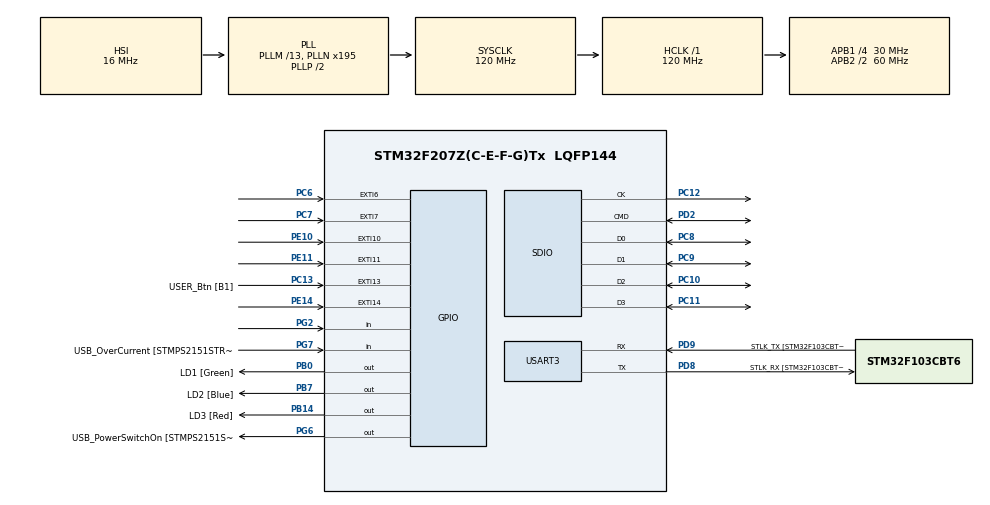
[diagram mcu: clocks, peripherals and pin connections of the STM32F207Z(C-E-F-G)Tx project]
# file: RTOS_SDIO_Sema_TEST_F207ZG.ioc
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Dma.Request0=SDIO_TX
Dma.Request1=SDIO_RX
Dma.SDIO_RX.1.Direction=DMA_PERIPH_TO_MEMORY
Dma.SDIO_RX.1.FIFOMode=DMA_FIFOMODE_ENABLE
Dma.SDIO_RX.1.FIFOThreshold=DMA_FIFO_THRESHOLD_FULL
Dma.SDIO_RX.1.Instance=DMA2_Stream3
Dma.SDIO_RX.1.MemBurst=DMA_MBURST_INC4
Dma.SDIO_RX.1.MemDataAlignment=DMA_MDATAALIGN_WORD
Dma.SDIO_RX.1.MemInc=DMA_MINC_ENABLE
Dma.SDIO_RX.1.Mode=DMA_PFCTRL
Dma.SDIO_RX.1.PeriphBurst=DMA_PBURST_INC4
Dma.SDIO_RX.1.PeriphDataAlignment=DMA_PDATAALIGN_WORD
Dma.SDIO_RX.1.PeriphInc=DMA_PINC_DISABLE
Dma.SDIO_RX.1.Priority=DMA_PRIORITY_LOW
Dma.SDIO_TX.0.Direction=DMA_MEMORY_TO_PERIPH
Dma.SDIO_TX.0.FIFOMode=DMA_FIFOMODE_ENABLE
Dma.SDIO_TX.0.FIFOThreshold=DMA_FIFO_THRESHOLD_FULL
Dma.SDIO_TX.0.Instance=DMA2_Stream6
Dma.SDIO_TX.0.MemBurst=DMA_MBURST_INC4
Dma.SDIO_TX.0.MemDataAlignment=DMA_MDATAALIGN_WORD
Dma.SDIO_TX.0.MemInc=DMA_MINC_ENABLE
Dma.SDIO_TX.0.Mode=DMA_PFCTRL
Dma.SDIO_TX.0.PeriphBurst=DMA_PBURST_INC4
Dma.SDIO_TX.0.PeriphDataAlignment=DMA_PDATAALIGN_WORD
Dma.SDIO_TX.0.PeriphInc=DMA_PINC_DISABLE
Dma.SDIO_TX.0.Priority=DMA_PRIORITY_LOW
FATFS.BSP.number=1
FATFS._CODE_PAGE=949
FATFS._USE_LFN=3
FATFS._WORD_ACCESS=1
FATFS0.BSP.STBoard=false
FATFS0.BSP.api=Unknown
FATFS0.BSP.i2caddr=0
FATFS0.BSP.instance=PG2
FATFS0.BSP.ip=GPIO
FATFS0.BSP.mode=Input
FATFS0.BSP.name=Detect_SDIO
FATFS0.BSP.solution=PG2
FREERTOS.BinarySemaphores01=sdReadBinarySem,Dynamic,NULL;sdWriteBinarySem,Dynamic,NULL;sdFormatBinarySem,Dynamic,NULL
FREERTOS.MEMORY_ALLOCATION=0
FREERTOS.Tasks01=defaultTask,0,1024,StartDefaultTask,Default,NULL,Dynamic,NULL,NULL;sdReadTask,-3,256,StartSdReadTask,Default,NULL,Dynamic,NULL,NULL;sdWriteTask,-3,256,StartSdWriteTask,Default,NULL,Dynamic,NULL,NULL;sdFormatTask,-3,256,StartSdFormatTask,Default,NULL,Dynamic,NULL,NULL
FREERTOS.configCHECK_FOR_STACK_OVERFLOW=2
FREERTOS.configUSE_APPLICATION_TASK_TAG=1
FREERTOS.configUSE_COUNTING_SEMAPHORES=1
FREERTOS.configUSE_IDLE_HOOK=1
FREERTOS.configUSE_MALLOC_FAILED_HOOK=1
FREERTOS.configUSE_RECURSIVE_MUTEXES=1
Mcu.Family=STM32F2
Mcu.Name=STM32F207Z(C-E-F-G)Tx
Mcu.Package=LQFP144
NVIC.DMA2_Stream3_IRQn=true\:6\:0\:true\:false\:true\:true\:false\:true
NVIC.DMA2_Stream6_IRQn=true\:6\:0\:true\:false\:true\:true\:false\:true
NVIC.EXTI15_10_IRQn=true\:5\:0\:false\:false\:true\:true\:true\:true
NVIC.EXTI9_5_IRQn=true\:5\:0\:false\:false\:true\:true\:true\:true
NVIC.PriorityGroup=NVIC_PRIORITYGROUP_4
NVIC.SDIO_IRQn=true\:5\:0\:true\:false\:true\:true\:true\:true
NVIC.TIM1_BRK_TIM9_IRQn=true\:0\:0\:false\:false\:true\:false\:false\:true
NVIC.TimeBase=TIM1_BRK_TIM9_IRQn
NVIC.TimeBaseIP=TIM9
PA1.GPIO_Label=RMII_REF_CLK [LAN8742A-CZ-TR_REFCLK0]
PA1.Signal=ETH_REF_CLK
PA10.GPIO_Label=USB_ID
PA10.Signal=USB_OTG_FS_ID
PA11.GPIO_Label=USB_DM
PA11.Signal=USB_OTG_FS_DM
PA12.GPIO_Label=USB_DP
PA12.Signal=USB_OTG_FS_DP
PA13.GPIO_Label=TMS
PA13.Mode=Trace_Asynchronous_SW
PA13.Signal=SYS_JTMS-SWDIO
PA14.GPIO_Label=TCK
PA14.Mode=Trace_Asynchronous_SW
PA14.Signal=SYS_JTCK-SWCLK
PA2.GPIO_Label=RMII_MDIO [LAN8742A-CZ-TR_MDIO]
PA2.Signal=ETH_MDIO
PA8.GPIO_Label=USB_SOF [TP1]
PA8.Signal=USB_OTG_FS_SOF
PA9.GPIO_Label=USB_VBUS
PA9.Signal=USB_OTG_FS_VBUS
PB0.GPIO_Label=LD1 [Green]
PB0.Signal=GPIO_Output
PB13.GPIO_Label=RMII_TXD1 [LAN8742A-CZ-TR_TXD1]
PB13.Signal=ETH_TXD1
PB14.GPIO_Label=LD3 [Red]
PB14.Signal=GPIO_Output
PB3.GPIO_Label=SWO
PB3.Mode=Trace_Asynchronous_SW
PB3.Signal=SYS_JTDO-SWO
PB7.GPIO_Label=LD2 [Blue]
PB7.Signal=GPIO_Output
PC1.GPIO_Label=RMII_MDC [LAN8742A-CZ-TR_MDC]
PC1.Signal=ETH_MDC
PC10.Mode=SD_4_bits_Wide_bus
PC10.Signal=SDIO_D2
PC11.Mode=SD_4_bits_Wide_bus
PC11.Signal=SDIO_D3
PC12.Mode=SD_4_bits_Wide_bus
PC12.Signal=SDIO_CK
PC13.GPIO_Label=USER_Btn [B1]
PC13.Signal=GPXTI13
PC14-OSC32_IN.Mode=LSE-External-Oscillator
PC14-OSC32_IN.Signal=RCC_OSC32_IN
PC15-OSC32_OUT.Mode=LSE-External-Oscillator
PC15-OSC32_OUT.Signal=RCC_OSC32_OUT
PC4.GPIO_Label=RMII_RXD0 [LAN8742A-CZ-TR_RXD0]
PC4.Signal=ETH_RXD0
PC5.GPIO_Label=RMII_RXD1 [LAN8742A-CZ-TR_RXD1]
PC5.Signal=ETH_RXD1
PC6.Signal=GPXTI6
PC7.Signal=GPXTI7
PC8.Mode=SD_4_bits_Wide_bus
PC8.Signal=SDIO_D0
PC9.Mode=SD_4_bits_Wide_bus
PC9.Signal=SDIO_D1
PD2.Mode=SD_4_bits_Wide_bus
PD2.Signal=SDIO_CMD
PD8.GPIO_Label=STLK_RX [STM32F103CBT6_PA3]
PD8.Mode=Asynchronous
PD8.Signal=USART3_TX
PD9.GPIO_Label=STLK_TX [STM32F103CBT6_PA2]
PD9.Mode=Asynchronous
PD9.Signal=USART3_RX
PE10.Signal=GPXTI10
PE11.Signal=GPXTI11
PE14.Signal=GPXTI14
PG11.GPIO_Label=RMII_TX_EN [LAN8742A-CZ-TR_TXEN]
PG11.Signal=ETH_TX_EN
PG13.GPIO_Label=RMII_TXD0 [LAN8742A-CZ-TR_TXD0]
PG13.Signal=ETH_TXD0
PG2.GPIO_PuPd=GPIO_PULLUP
PG2.Signal=GPIO_Input
PG6.GPIO_Label=USB_PowerSwitchOn [STMPS2151STR_EN]
PG6.Signal=GPIO_Output
PG7.GPIO_Label=USB_OverCurrent [STMPS2151STR_FAULT]
PG7.Signal=GPIO_Input
PH0-OSC_IN.GPIO_Label=MCO [STM32F103CBT6_PA8]
PH0-OSC_IN.Mode=HSE-External-Clock-Source
PH0-OSC_IN.Signal=RCC_OSC_IN
PH1-OSC_OUT.Mode=HSE-External-Clock-Source
PH1-OSC_OUT.Signal=RCC_OSC_OUT
ProjectManager.HeapSize=0x1000
ProjectManager.StackSize=0x1000
ProjectManager.TargetToolchain=STM32CubeIDE
RCC.48MHZClocksFreq_Value=48000000
RCC.AHBFreq_Value=120000000
RCC.APB1CLKDivider=RCC_HCLK_DIV4
RCC.APB1Freq_Value=30000000
RCC.APB1TimFreq_Value=60000000
RCC.APB2CLKDivider=RCC_HCLK_DIV2
RCC.APB2Freq_Value=60000000
RCC.APB2TimFreq_Value=120000000
RCC.CortexFreq_Value=120000000
RCC.HCLKFreq_Value=120000000
RCC.HSE_VALUE=8000000
RCC.HSI_VALUE=16000000
RCC.PLLM=13
RCC.PLLMUL=RCC_PLL_MUL9
RCC.PLLN=195
RCC.PLLQ=5
RCC.PRESCALERUSB=RCC_USBCLKSOURCE_PLL_DIV1_5
RCC.SYSCLKFreq_VALUE=120000000
RCC.SYSCLKSource=RCC_SYSCLKSOURCE_PLLCLK
RCC.SYSCLKSourceVirtual=RCC_SYSCLKSOURCE_PLLCLK
RCC.USBFreq_Value=48000000
RCC.VCOOutputFreq_Value=240000000
SDIO.ClockBypass=SDIO_CLOCK_BYPASS_DISABLE
SDIO.ClockDiv=3
SDIO.HardwareFlowControl=SDIO_HARDWARE_FLOW_CONTROL_DISABLE
USART3.VirtualMode=VM_ASYNC
VP_FATFS_VS_SDIO.Mode=SDIO
VP_FREERTOS_VS_CMSIS_V1.Mode=CMSIS_V1
VP_SYS_VS_tim9.Mode=TIM9
board=custom

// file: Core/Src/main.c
/* USER CODE BEGIN Header */
/**
 ******************************************************************************
 * @file           : main.c
 * @brief          : Main program body
 ******************************************************************************
 * @attention
 *
 * <h2><center>&copy; Copyright (c) 2020 STMicroelectronics.
 * All rights reserved.</center></h2>
 *
 * This software component is licensed by ST under BSD 3-Clause license,
 * the "License"; You may not use this file except in compliance with the
 * License. You may obtain a copy of the License at:
 *                        opensource.org/licenses/BSD-3-Clause
 *
 ******************************************************************************
 */
/* USER CODE END Header */
#include "main.h"
#include "cmsis_os.h"
#include "fatfs.h"

/* USER CODE BEGIN Includes */
#include <string.h>
/* USER CODE END Includes */

/* USER CODE BEGIN PTD */
typedef enum
{
	SHIELD_NOT_DETECTED = 0, SHIELD_DETECTED
} ShieldStatus;
/* USER CODE END PTD */

/* USER CODE BEGIN PD */
#define B1SWITCH_SLICE_PUSH_TIME	2000
#define CHATTERING_REMOVE_TIME	10
/* USER CODE END PD */

SD_HandleTypeDef hsd;
DMA_HandleTypeDef hdma_sdio_tx;
DMA_HandleTypeDef hdma_sdio_rx;

UART_HandleTypeDef huart3;

osThreadId defaultTaskHandle;
osThreadId sdReadTaskHandle;
osThreadId sdWriteTaskHandle;
osThreadId sdFormatTaskHandle;
osSemaphoreId sdReadBinarySemHandle;
osSemaphoreId sdWriteBinarySemHandle;
osSemaphoreId sdFormatBinarySemHandle;
/* USER CODE BEGIN PV */
FATFS SDFatFs; /* File system object for SD card logical drive */
FIL MyFile; /* File object */
char SDPath[4]; /* SD card logical drive path */
uint8_t workBuffer[2 * _MAX_SS];
//uint8_t buffSel;
uint16_t dataIdx;
uint16_t writeSize;
uint16_t writedataIdx;
uint8_t recvData;
uint16_t b1PushCounter;
char fileName[11];

uint32_t tickRec[10];
/* USER CODE END PV */

void SystemClock_Config(void);
static void MX_GPIO_Init(void);
static void MX_DMA_Init(void);
static void MX_USART3_UART_Init(void);
static void MX_SDIO_SD_Init(void);
void StartDefaultTask(void const *argument);
void StartSdReadTask(void const *argument);
void StartSdWriteTask(void const *argument);
void StartSdFormatTask(void const *argument);

/* USER CODE BEGIN 0 */

void HAL_GPIO_EXTI_Callback(uint16_t GPIO_Pin)
{
	/*
	 switch (GPIO_Pin)
	 {
	 case GPIO_PIN_6:
	 ITM_SendChar('6');
	 ITM_SendChar('\r');
	 ITM_SendChar('\n');
	 break;
	 case GPIO_PIN_7:
	 ITM_SendChar('7');
	 ITM_SendChar('\r');
	 ITM_SendChar('\n');
	 break;
	 case GPIO_PIN_10:
	 HAL_GPIO_TogglePin(GPIOB, GPIO_PIN_7);
	 break;
	 case GPIO_PIN_11:
	 HAL_GPIO_TogglePin(GPIOB, GPIO_PIN_0);
	 break;
	 case GPIO_PIN_14:
	 HAL_GPIO_TogglePin(GPIOB, GPIO_PIN_14);
	 break;
	 }*/
	if (GPIO_Pin == GPIO_PIN_13)
	{
		b1PushCounter = B1SWITCH_SLICE_PUSH_TIME;
		HAL_GPIO_WritePin(GPIOG, GPIO_PIN_6, GPIO_PIN_RESET);
	}
}

void ITM_SendStr(char *str)
{
	while (*str)
	{
		ITM_SendChar(*str);
		str++;
	}
}

/* USER CODE END 0 */

int main(void)
{

	/* MCU Configuration--------------------------------------------------------*/

	/* Reset of all peripherals, Initializes the Flash interface and the Systick. */
	HAL_Init();

	/* Configure the system clock */
	SystemClock_Config();

	/* Initialize all configured peripherals */
	MX_GPIO_Init();
	MX_DMA_Init();
	MX_USART3_UART_Init();
	MX_SDIO_SD_Init();
	MX_FATFS_Init();
	/* USER CODE BEGIN 2 */
	b1PushCounter = 0;
	//  buffSel = 0;
	dataIdx = 0;
	/* USER CODE END 2 */

	/* Create the semaphores(s) */
	/* definition and creation of sdReadBinarySem */
	osSemaphoreDef(sdReadBinarySem);
	sdReadBinarySemHandle = osSemaphoreCreate(osSemaphore(sdReadBinarySem), 1);

	/* definition and creation of sdWriteBinarySem */
	osSemaphoreDef(sdWriteBinarySem);
	sdWriteBinarySemHandle = osSemaphoreCreate(osSemaphore(sdWriteBinarySem),
			1);

	/* definition and creation of sdFormatBinarySem */
	osSemaphoreDef(sdFormatBinarySem);
	sdFormatBinarySemHandle = osSemaphoreCreate(osSemaphore(sdFormatBinarySem),
			1);

	/* Create the thread(s) */
	/* definition and creation of defaultTask */
	osThreadDef(defaultTask, StartDefaultTask, osPriorityNormal, 0, 1024);
	defaultTaskHandle = osThreadCreate(osThread(defaultTask), NULL);

	/* definition and creation of sdReadTask */
	osThreadDef(sdReadTask, StartSdReadTask, osPriorityIdle, 0, 256);
	sdReadTaskHandle = osThreadCreate(osThread(sdReadTask), NULL);

	/* definition and creation of sdWriteTask */
	osThreadDef(sdWriteTask, StartSdWriteTask, osPriorityIdle, 0, 256);
	sdWriteTaskHandle = osThreadCreate(osThread(sdWriteTask), NULL);

	/* definition and creation of sdFormatTask */
	/*
	 osThreadDef(sdFormatTask, StartSdFormatTask, osPriorityIdle, 0, 256);
	 sdFormatTaskHandle = osThreadCreate(osThread(sdFormatTask), NULL);
	 */

	/* Start scheduler */
	osKernelStart();

	/* We should never get here as control is now taken by the scheduler */
	/* Infinite loop */
	while (1)
	{

	}
}

void SystemClock_Config(void)
{
	RCC_OscInitTypeDef RCC_OscInitStruct =
	{ 0 };
	RCC_ClkInitTypeDef RCC_ClkInitStruct =
	{ 0 };

	/** Initializes the RCC Oscillators according to the specified parameters
	 * in the RCC_OscInitTypeDef structure.
	 */
	RCC_OscInitStruct.OscillatorType = RCC_OSCILLATORTYPE_HSI;
	RCC_OscInitStruct.HSIState = RCC_HSI_ON;
	RCC_OscInitStruct.HSICalibrationValue = RCC_HSICALIBRATION_DEFAULT;
	RCC_OscInitStruct.PLL.PLLState = RCC_PLL_ON;
	RCC_OscInitStruct.PLL.PLLSource = RCC_PLLSOURCE_HSI;
	RCC_OscInitStruct.PLL.PLLM = 13;
	RCC_OscInitStruct.PLL.PLLN = 195;
	RCC_OscInitStruct.PLL.PLLP = RCC_PLLP_DIV2;
	RCC_OscInitStruct.PLL.PLLQ = 5;
	if (HAL_RCC_OscConfig(&RCC_OscInitStruct) != HAL_OK)
	{
		Error_Handler();
	}
	/** Initializes the CPU, AHB and APB buses clocks
	 */
	RCC_ClkInitStruct.ClockType = RCC_CLOCKTYPE_HCLK | RCC_CLOCKTYPE_SYSCLK
			| RCC_CLOCKTYPE_PCLK1 | RCC_CLOCKTYPE_PCLK2;
	RCC_ClkInitStruct.SYSCLKSource = RCC_SYSCLKSOURCE_PLLCLK;
	RCC_ClkInitStruct.AHBCLKDivider = RCC_SYSCLK_DIV1;
	RCC_ClkInitStruct.APB1CLKDivider = RCC_HCLK_DIV4;
	RCC_ClkInitStruct.APB2CLKDivider = RCC_HCLK_DIV2;

	if (HAL_RCC_ClockConfig(&RCC_ClkInitStruct, FLASH_LATENCY_3) != HAL_OK)
	{
		Error_Handler();
	}
}

static void MX_SDIO_SD_Init(void)
{

	hsd.Instance = SDIO;
	hsd.Init.ClockEdge = SDIO_CLOCK_EDGE_RISING;
	hsd.Init.ClockBypass = SDIO_CLOCK_BYPASS_DISABLE;
	hsd.Init.ClockPowerSave = SDIO_CLOCK_POWER_SAVE_DISABLE;
	hsd.Init.BusWide = SDIO_BUS_WIDE_1B;
	hsd.Init.HardwareFlowControl = SDIO_HARDWARE_FLOW_CONTROL_DISABLE;
	hsd.Init.ClockDiv = 3;

}

static void MX_USART3_UART_Init(void)
{

	huart3.Instance = USART3;
	huart3.Init.BaudRate = 115200;
	huart3.Init.WordLength = UART_WORDLENGTH_8B;
	huart3.Init.StopBits = UART_STOPBITS_1;
	huart3.Init.Parity = UART_PARITY_NONE;
	huart3.Init.Mode = UART_MODE_TX_RX;
	huart3.Init.HwFlowCtl = UART_HWCONTROL_NONE;
	huart3.Init.OverSampling = UART_OVERSAMPLING_16;
	if (HAL_UART_Init(&huart3) != HAL_OK)
	{
		Error_Handler();
	}

}

static void MX_DMA_Init(void)
{

	/* DMA controller clock enable */
	__HAL_RCC_DMA2_CLK_ENABLE();

	/* DMA interrupt init */
	/* DMA2_Stream3_IRQn interrupt configuration */
	HAL_NVIC_SetPriority(DMA2_Stream3_IRQn, 6, 0);
	HAL_NVIC_EnableIRQ(DMA2_Stream3_IRQn);
	/* DMA2_Stream6_IRQn interrupt configuration */
	HAL_NVIC_SetPriority(DMA2_Stream6_IRQn, 6, 0);
	HAL_NVIC_EnableIRQ(DMA2_Stream6_IRQn);

}

static void MX_GPIO_Init(void)
{
	GPIO_InitTypeDef GPIO_InitStruct =
	{ 0 };

	/* GPIO Ports Clock Enable */
	__HAL_RCC_GPIOC_CLK_ENABLE();
	__HAL_RCC_GPIOH_CLK_ENABLE();
	__HAL_RCC_GPIOA_CLK_ENABLE();
	__HAL_RCC_GPIOB_CLK_ENABLE();
	__HAL_RCC_GPIOE_CLK_ENABLE();
	__HAL_RCC_GPIOD_CLK_ENABLE();
	__HAL_RCC_GPIOG_CLK_ENABLE();

	/*Configure GPIO pin Output Level */
	HAL_GPIO_WritePin(GPIOB, LD1_Pin | LD3_Pin | LD2_Pin, GPIO_PIN_RESET);

	/*Configure GPIO pin Output Level */
	HAL_GPIO_WritePin(USB_PowerSwitchOn_GPIO_Port, USB_PowerSwitchOn_Pin,
			GPIO_PIN_RESET);

	/*Configure GPIO pins : USER_Btn_Pin PC6 PC7 */
	GPIO_InitStruct.Pin = USER_Btn_Pin | GPIO_PIN_6 | GPIO_PIN_7;
	GPIO_InitStruct.Mode = GPIO_MODE_IT_RISING;
	GPIO_InitStruct.Pull = GPIO_NOPULL;
	HAL_GPIO_Init(GPIOC, &GPIO_InitStruct);

	/*Configure GPIO pins : RMII_MDC_Pin RMII_RXD0_Pin RMII_RXD1_Pin */
	GPIO_InitStruct.Pin = RMII_MDC_Pin | RMII_RXD0_Pin | RMII_RXD1_Pin;
	GPIO_InitStruct.Mode = GPIO_MODE_AF_PP;
	GPIO_InitStruct.Pull = GPIO_NOPULL;
	GPIO_InitStruct.Speed = GPIO_SPEED_FREQ_VERY_HIGH;
	GPIO_InitStruct.Alternate = GPIO_AF11_ETH;
	HAL_GPIO_Init(GPIOC, &GPIO_InitStruct);

	/*Configure GPIO pins : RMII_REF_CLK_Pin RMII_MDIO_Pin */
	GPIO_InitStruct.Pin = RMII_REF_CLK_Pin | RMII_MDIO_Pin;
	GPIO_InitStruct.Mode = GPIO_MODE_AF_PP;
	GPIO_InitStruct.Pull = GPIO_NOPULL;
	GPIO_InitStruct.Speed = GPIO_SPEED_FREQ_VERY_HIGH;
	GPIO_InitStruct.Alternate = GPIO_AF11_ETH;
	HAL_GPIO_Init(GPIOA, &GPIO_InitStruct);

	/*Configure GPIO pins : LD1_Pin LD3_Pin LD2_Pin */
	GPIO_InitStruct.Pin = LD1_Pin | LD3_Pin | LD2_Pin;
	GPIO_InitStruct.Mode = GPIO_MODE_OUTPUT_PP;
	GPIO_InitStruct.Pull = GPIO_NOPULL;
	GPIO_InitStruct.Speed = GPIO_SPEED_FREQ_LOW;
	HAL_GPIO_Init(GPIOB, &GPIO_InitStruct);

	/*Configure GPIO pins : PE10 PE11 PE14 */
	GPIO_InitStruct.Pin = GPIO_PIN_10 | GPIO_PIN_11 | GPIO_PIN_14;
	GPIO_InitStruct.Mode = GPIO_MODE_IT_RISING;
	GPIO_InitStruct.Pull = GPIO_NOPULL;
	HAL_GPIO_Init(GPIOE, &GPIO_InitStruct);

	/*Configure GPIO pin : RMII_TXD1_Pin */
	GPIO_InitStruct.Pin = RMII_TXD1_Pin;
	GPIO_InitStruct.Mode = GPIO_MODE_AF_PP;
	GPIO_InitStruct.Pull = GPIO_NOPULL;
	GPIO_InitStruct.Speed = GPIO_SPEED_FREQ_VERY_HIGH;
	GPIO_InitStruct.Alternate = GPIO_AF11_ETH;
	HAL_GPIO_Init(RMII_TXD1_GPIO_Port, &GPIO_InitStruct);

	/*Configure GPIO pin : PG2 */
	GPIO_InitStruct.Pin = GPIO_PIN_2;
	GPIO_InitStruct.Mode = GPIO_MODE_INPUT;
	GPIO_InitStruct.Pull = GPIO_PULLUP;
	HAL_GPIO_Init(GPIOG, &GPIO_InitStruct);

	/*Configure GPIO pin : USB_PowerSwitchOn_Pin */
	GPIO_InitStruct.Pin = USB_PowerSwitchOn_Pin;
	GPIO_InitStruct.Mode = GPIO_MODE_OUTPUT_PP;
	GPIO_InitStruct.Pull = GPIO_NOPULL;
	GPIO_InitStruct.Speed = GPIO_SPEED_FREQ_LOW;
	HAL_GPIO_Init(USB_PowerSwitchOn_GPIO_Port, &GPIO_InitStruct);

	/*Configure GPIO pin : USB_OverCurrent_Pin */
	GPIO_InitStruct.Pin = USB_OverCurrent_Pin;
	GPIO_InitStruct.Mode = GPIO_MODE_INPUT;
	GPIO_InitStruct.Pull = GPIO_NOPULL;
	HAL_GPIO_Init(USB_OverCurrent_GPIO_Port, &GPIO_InitStruct);

	/*Configure GPIO pins : USB_SOF_Pin USB_ID_Pin USB_DM_Pin USB_DP_Pin */
	GPIO_InitStruct.Pin = USB_SOF_Pin | USB_ID_Pin | USB_DM_Pin | USB_DP_Pin;
	GPIO_InitStruct.Mode = GPIO_MODE_AF_PP;
	GPIO_InitStruct.Pull = GPIO_NOPULL;
	GPIO_InitStruct.Speed = GPIO_SPEED_FREQ_VERY_HIGH;
	GPIO_InitStruct.Alternate = GPIO_AF10_OTG_FS;
	HAL_GPIO_Init(GPIOA, &GPIO_InitStruct);

	/*Configure GPIO pin : USB_VBUS_Pin */
	GPIO_InitStruct.Pin = USB_VBUS_Pin;
	GPIO_InitStruct.Mode = GPIO_MODE_INPUT;
	GPIO_InitStruct.Pull = GPIO_NOPULL;
	HAL_GPIO_Init(USB_VBUS_GPIO_Port, &GPIO_InitStruct);

	/*Configure GPIO pins : RMII_TX_EN_Pin RMII_TXD0_Pin */
	GPIO_InitStruct.Pin = RMII_TX_EN_Pin | RMII_TXD0_Pin;
	GPIO_InitStruct.Mode = GPIO_MODE_AF_PP;
	GPIO_InitStruct.Pull = GPIO_NOPULL;
	GPIO_InitStruct.Speed = GPIO_SPEED_FREQ_VERY_HIGH;
	GPIO_InitStruct.Alternate = GPIO_AF11_ETH;
	HAL_GPIO_Init(GPIOG, &GPIO_InitStruct);

	/* EXTI interrupt init*/
	HAL_NVIC_SetPriority(EXTI9_5_IRQn, 5, 0);
	HAL_NVIC_EnableIRQ(EXTI9_5_IRQn);

	HAL_NVIC_SetPriority(EXTI15_10_IRQn, 5, 0);
	HAL_NVIC_EnableIRQ(EXTI15_10_IRQn);

}

void StartDefaultTask(void const *argument)
{
	/* USER CODE BEGIN 5 */
	/* init code for FATFS */
	//MX_FATFS_Init();
	/*## Register the file system object to the FatFs module ##############*/
	if (f_mount(&SDFatFs, (TCHAR const*) SDPath, 0) != FR_OK)
	{
		/* FatFs Initialization Error */
		Error_Handler();
	}
	else
	{
		HAL_GPIO_WritePin(GPIOG, GPIO_PIN_6, GPIO_PIN_SET);
	}
	/* Infinite loop */
	for (;;)
	{
		/*
		 HAL_GPIO_TogglePin(LD1_GPIO_Port, LD1_Pin);
		 osDelay(100);
		 */
		osDelay(1);
		if (b1PushCounter > 0)
		{
			if (--b1PushCounter
					< (B1SWITCH_SLICE_PUSH_TIME - CHATTERING_REMOVE_TIME))
			{
				if (HAL_GPIO_ReadPin(USER_Btn_GPIO_Port, USER_Btn_Pin)
						== GPIO_PIN_RESET)
				{
					//				  if(b1PushCounter < 2000){
					//					  osSemaphoreRelease(sdWriteBinarySemHandle);
					//				  }
					//				  else{
					osSemaphoreRelease(sdReadBinarySemHandle);
					//				  }
					b1PushCounter = 0;
				}
				else
				{
					if (b1PushCounter == 0)
					{
						osSemaphoreRelease(sdFormatBinarySemHandle);
					}
				}
			}
		}
	}
	/* USER CODE END 5 */
}

void StartSdReadTask(void const *argument)
{
	/* USER CODE BEGIN StartSdReadTask */
	FRESULT res; /* FatFs function common result code */
	uint32_t bytesread; /* File write/read counts */
	uint16_t fileSize;
	uint16_t readSize;
	uint16_t readDataIdx;
	uint16_t buffIdx;
	uint16_t sendBuffIdx;
	HAL_StatusTypeDef status;

	osSemaphoreWait(sdReadBinarySemHandle, 0);
	/* Infinite loop */
	for (;;)
	{
		osSemaphoreWait(sdReadBinarySemHandle, osWaitForever);

		/*## Open the text file object with read access ###############*/
		f_open(&MyFile, "STM32.TXT", FA_WRITE | FA_CREATE_ALWAYS);

		/*if (f_open(&MyFile, "STM32.TXT", FA_READ | FA_WRITE | FA_CREATE_ALWAYS)
		 != FR_OK)
		 {*/
		/* 'STM32.TXT' file Open for read Error */
		/*Error_Handler();
		 }*/
		/*else
		 {*/
		/*## Read data from the text file ###########################*/
		fileSize = MyFile.fsize; //.obj.objsize;
		readDataIdx = 0;
		buffIdx = 0;
		tickRec[3] = HAL_GetTick();
		do
		{
			readSize =
					((fileSize - readDataIdx) > _MAX_SS) ?
							_MAX_SS : fileSize - readDataIdx;
			tickRec[5] = HAL_GetTick();
			res = f_read(&MyFile, &workBuffer[buffIdx], readSize,
					(UINT*) &bytesread);
			tickRec[6] = HAL_GetTick();
			if ((bytesread == 0) || (res != FR_OK))
			{
				/* 'STM32.TXT' file Read or EOF Error */
				Error_Handler();
			}
			else
			{

			}
			buffIdx += readSize;
			if (buffIdx > _MAX_SS)
			{
				buffIdx = 0;
				sendBuffIdx = _MAX_SS;
			}
			else
			{
				buffIdx = _MAX_SS;
				sendBuffIdx = 0;
			}
			/*
			 do
			 {
			 status = HAL_UART_Transmit_IT(&huart6,
			 &workBuffer[sendBuffIdx], readSize);
			 } while (status == HAL_BUSY);
			 */
			readDataIdx += readSize;
		} while (readDataIdx < fileSize);
		tickRec[4] = HAL_GetTick();
		/*## Close the open text file #############################*/
		f_close(&MyFile);
		HAL_GPIO_WritePin(LD1_GPIO_Port, LD1_Pin, GPIO_PIN_SET);
		/*}*/
		osDelay(1);
	}
	/* USER CODE END StartSdReadTask */
}

void StartSdWriteTask(void const *argument)
{
	/* USER CODE BEGIN StartSdWriteTask */
	FRESULT res; /* FatFs function common result code */
	uint32_t byteswritten; /* File write/read counts */
	char tmpFileName[] = "1234567890\0";
	osSemaphoreWait(sdWriteBinarySemHandle, 0);
	/* Infinite loop */
	for (;;)
	{
		osSemaphoreWait(sdWriteBinarySemHandle, osWaitForever);

		tickRec[0] = HAL_GetTick();

		strncpy(tmpFileName, (char*) &workBuffer[writedataIdx], 10);
		if (strstr(tmpFileName, ".txt") != NULL)
		{
			/*## Create and Open a new text file object with write access #####*/
			strcpy(fileName, tmpFileName);
			res = f_open(&MyFile, fileName, FA_CREATE_ALWAYS | FA_WRITE);
		}
		else
		{
			res = f_open(&MyFile, fileName, FA_OPEN_ALWAYS | FA_WRITE);
		}
		if (res != FR_OK)
		{
			/* 'STM32.TXT' file Open for write Error */
			Error_Handler();
		}
		else
		{
			/*## Write data to the text file ################################*/
			tickRec[1] = HAL_GetTick();
			res = f_write(&MyFile, &workBuffer[writedataIdx], writeSize,
					(void*) &byteswritten);
			tickRec[2] = HAL_GetTick();
			if ((byteswritten == 0) || (res != FR_OK))
			{
				/* 'STM32.TXT' file Write or EOF Error */
				Error_Handler();
			}
			else
			{
				/*## Close the open text file #################################*/
				f_close(&MyFile);
				HAL_GPIO_WritePin(LD2_GPIO_Port, LD2_Pin, GPIO_PIN_SET);
			}
		}
		osDelay(1);
	}
	/* USER CODE END StartSdWriteTask */
}

void StartSdFormatTask(void const *argument)
{
	/* USER CODE BEGIN StartSdFormatTask */
	osSemaphoreWait(sdFormatBinarySemHandle, 0);
	/* Infinite loop */
	for (;;)
	{
		osSemaphoreWait(sdFormatBinarySemHandle, osWaitForever);

		/*## Create a FAT file system (format) on the logical drive #########*/
		/* WARNING: Formatting the uSD card will delete all content on the device */
		if (f_mkfs((TCHAR const*) SDPath, 1, sizeof(workBuffer)) != FR_OK)
		{
			/* FatFs Format Error */
			Error_Handler();
		}
		else
		{
			HAL_GPIO_WritePin(LD3_GPIO_Port, LD3_Pin, GPIO_PIN_SET);
		}

		osDelay(1);
	}
	/* USER CODE END StartSdFormatTask */
}

void HAL_TIM_PeriodElapsedCallback(TIM_HandleTypeDef *htim)
{
	if (htim->Instance == TIM9)
	{
		HAL_IncTick();
	}
}

void Error_Handler(void)
{
	/* USER CODE BEGIN Error_Handler_Debug */
	HAL_GPIO_WritePin(LD1_GPIO_Port, LD1_Pin, GPIO_PIN_SET);
	HAL_GPIO_WritePin(LD2_GPIO_Port, LD2_Pin, GPIO_PIN_SET);
	HAL_GPIO_WritePin(LD3_GPIO_Port, LD3_Pin, GPIO_PIN_SET);
	/* User can add his own implementation to report the HAL error return state */

	/* USER CODE END Error_Handler_Debug */
}

/************************ (C) COPYRIGHT STMicroelectronics *****END OF FILE****/

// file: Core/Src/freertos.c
/* USER CODE BEGIN Header */
/**
  ******************************************************************************
  * File Name          : freertos.c
  * Description        : Code for freertos applications
  ******************************************************************************
  * @attention
  *
  * <h2><center>&copy; Copyright (c) 2021 STMicroelectronics.
  * All rights reserved.</center></h2>
  *
  * This software component is licensed by ST under Ultimate Liberty license
  * SLA0044, the "License"; You may not use this file except in compliance with
  * the License. You may obtain a copy of the License at:
  *                             www.st.com/SLA0044
  *
  ******************************************************************************
  */
/* USER CODE END Header */

#include "FreeRTOS.h"
#include "task.h"
#include "main.h"

/* Hook prototypes */
void vApplicationIdleHook(void);
void vApplicationStackOverflowHook(xTaskHandle xTask, signed char *pcTaskName);
void vApplicationMallocFailedHook(void);

/* USER CODE BEGIN 2 */
__weak void vApplicationIdleHook( void )
{
   /* vApplicationIdleHook() will only be called if configUSE_IDLE_HOOK is set
   to 1 in FreeRTOSConfig.h. It will be called on each iteration of the idle
   task. It is essential that code added to this hook function never attempts
   to block in any way (for example, call xQueueReceive() with a block time
   specified, or call vTaskDelay()). If the application makes use of the
   vTaskDelete() API function (as this demo application does) then it is also
   important that vApplicationIdleHook() is permitted to return to its calling
   function, because it is the responsibility of the idle task to clean up
   memory allocated by the kernel to any task that has since been deleted. */
}
/* USER CODE END 2 */

/* USER CODE BEGIN 4 */
__weak void vApplicationStackOverflowHook(xTaskHandle xTask, signed char *pcTaskName)
{
   /* Run time stack overflow checking is performed if
   configCHECK_FOR_STACK_OVERFLOW is defined to 1 or 2. This hook function is
   called if a stack overflow is detected. */
}
/* USER CODE END 4 */

/* USER CODE BEGIN 5 */
__weak void vApplicationMallocFailedHook(void)
{
   /* vApplicationMallocFailedHook() will only be called if
   configUSE_MALLOC_FAILED_HOOK is set to 1 in FreeRTOSConfig.h. It is a hook
   function that will get called if a call to pvPortMalloc() fails.
   pvPortMalloc() is called internally by the kernel whenever a task, queue,
   timer or semaphore is created. It is also called by various parts of the
   demo application. If heap_1.c or heap_2.c are used, then the size of the
   heap available to pvPortMalloc() is defined by configTOTAL_HEAP_SIZE in
   FreeRTOSConfig.h, and the xPortGetFreeHeapSize() API function can be used
   to query the size of free heap space that remains (although it does not
   provide information on how the remaining heap might be fragmented). */
}
/* USER CODE END 5 */

/************************ (C) COPYRIGHT STMicroelectronics *****END OF FILE****/
